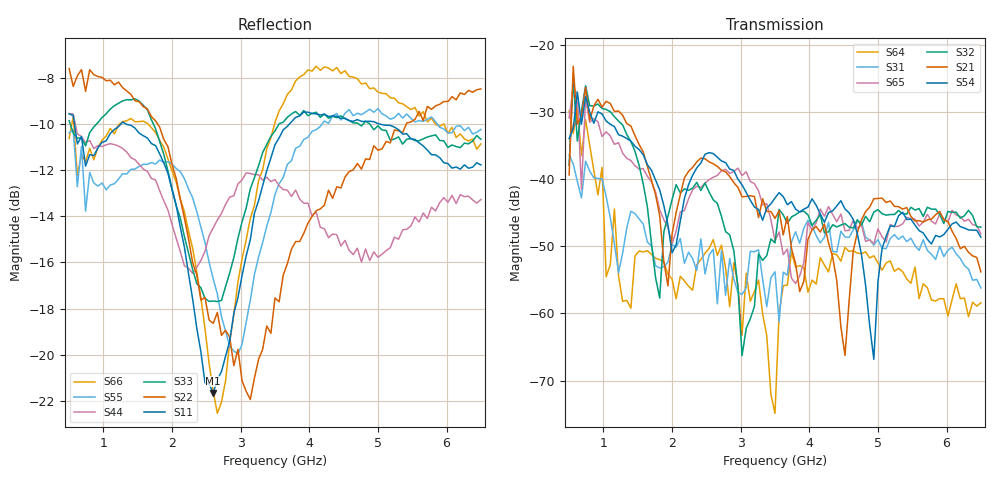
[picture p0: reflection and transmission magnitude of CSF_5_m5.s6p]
!Keysight Technologies,M9804A,MY58100912,A.14.10.03
!Date: Thursday, April 27, 2023 10:28:33
!Correction: S11(C  6-Port  )
!S12(C  6-Port  )
!S13(C  6-Port  )
!S14(C  6-Port  )
!S15(C  6-Port  )
!S16(C  6-Port  )
!S21(C  6-Port  )
!S22(C  6-Port  )
!S23(C  6-Port  )
!S24(C  6-Port  )
!S25(C  6-Port  )
!S26(C  6-Port  )
!S31(C  6-Port  )
!S32(C  6-Port  )
!S33(C  6-Port  )
!S34(C  6-Port  )
!S35(C  6-Port  )
!S36(C  6-Port  )
!S41(C  6-Port  )
!S42(C  6-Port  )
!S43(C  6-Port  )
!S44(C  6-Port  )
!S45(C  6-Port  )
!S46(C  6-Port  )
!S51(C  6-Port  )
!S52(C  6-Port  )
!S53(C  6-Port  )
!S54(C  6-Port  )
!S55(C  6-Port  )
!S56(C  6-Port  )
!S61(C  6-Port  )
!S62(C  6-Port  )
!S63(C  6-Port  )
!S64(C  6-Port  )
!S65(C  6-Port  )
!S66(C  6-Port  )
!S6P File: Measurement: :
# Hz S  RI  R 50
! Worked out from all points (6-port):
!   101 points, 500 MHz to 6.5 GHz, reference 50 ohm
!   strongest paths, dB at 500 MHz, 2 GHz, 3.5 GHz, 5 GHz, 6.5 GHz:
!     S54: -33.9, -51.0, -42.8, -55.3, -48.6
!     S21: -39.3, -48.2, -45.8, -42.8, -53.8
!     S32: -37.9, -43.0, -49.5, -44.5, -47.1
!     S65: -30.8, -49.6, -49.1, -47.4, -48.1
!     S31: -36.3, -49.7, -53.8, -49.0, -56.2
!     S64: -29.8, -54.9, -74.9, -52.4, -58.4
!   lowest |S11| = -21.7 dB at 2.6 GHz (marker M1), VSWR 1.18, Z = 42.6 + j2.07 ohm
!   |S11| at or under -10 dB: 577.8 MHz to 1.257 GHz (679 MHz wide, 74 % of centre); 1.324 GHz to 3.713 GHz (2.39 GHz wide, 94.9 % of centre); 5.012 GHz to end of sweep
